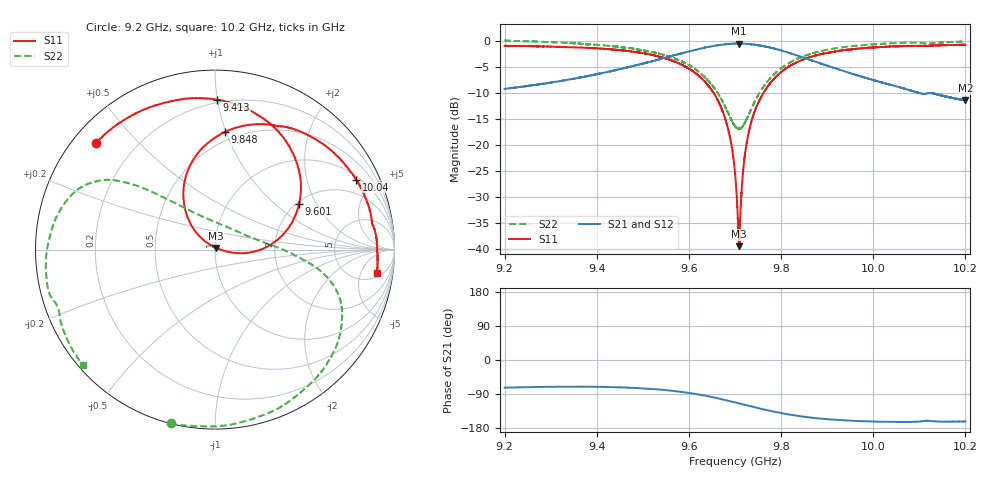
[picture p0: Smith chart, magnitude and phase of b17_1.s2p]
!Agilent Technologies,N5242A,MY51221714,A.09.90.19
!Agilent N5242A: A.09.90.19
!Date: Tuesday, March 26, 2024 16:55:39
!Correction: S11(Full 2 Port(1,2))
!S21(Full 2 Port(1,2))
!S12(Full 2 Port(1,2))
!S22(Full 2 Port(1,2))
!S2P File: Measurements: S11, S21, S12, S22:
# Hz S  dB  R 50
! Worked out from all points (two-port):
!   16001 points, 9.2 GHz to 10.2 GHz, reference 50 ohm
!   highest |S21| = -0.58 dB at 9.709 GHz (marker M1); lowest = -11.5 dB at 10.2 GHz (marker M2)
!   |S21| within 3 dB of the highest: 9.536865 GHz to 9.536947 GHz (82.29 kHz wide, 0.000863 % of centre); 9.537 GHz to 9.859 GHz (321.8 MHz wide, 3.32 % of centre)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
!   lowest |S11| = -39.5 dB at 9.709 GHz (marker M3), VSWR 1.02, Z = 50.6 + j0.919 ohm
!   |S11| at or under -10 dB: 9.653 GHz to 9.762 GHz (109 MHz wide, 1.12 % of centre)
!   |S22| runs from -17.0 to 0.0 dB; largest |S21 - S12| = 0.012
!   S11 on the Smith chart (normalised r, x): 9.2 GHz: 0.07, +0.38; 9.413 GHz: 0.18, +1.00; 9.601 GHz: 2.06, +1.45; 9.848 GHz: 0.43, +0.99; 10.04 GHz: 1.16, +3.94; 10.2 GHz: 6, -10
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9.2e9  -1.02 138.0  -9.28 -73.0  -9.25 -73.8  -0.00 -104.3
9.278812e9  -1.12 121.0  -8.34 -71.1  -8.33 -71.7  -0.22 -82.7
9.366688e9  -1.35 100.8  -7.05 -70.6  -7.04 -71.2  -0.63 -59.9
9.412562e9  -1.56 89.3  -6.22 -71.1  -6.22 -71.8  -0.92 -48.5
9.533375e9  -3.05 53.8  -3.67 -77.7  -3.65 -78.3  -2.46 -21.9
9.6015e9  -5.49 28.4  -2.06 -87.2  -2.04 -87.8  -4.77 -10.2
9.66875e9  -12.61 -1.5  -0.82 -102.7  -0.81 -103.3  -10.99 7.6
9.688188e9  -18.20 -8.9  -0.64 -108.2  -0.63 -108.9  -14.45 25.4
9.7e9  -25.29 -8.3  -0.59 -111.8  -0.58 -112.4  -16.37 46.4
9.7055e9  -32.62 7.2  -0.59 -113.5  -0.57 -114.1  -16.89 59.3
9.7085e9  -39.45 58.5  -0.58 -114.5  -0.57 -115.0  -16.95 66.7
9.708562e9  -38.60 60.8  -0.58 -114.4  -0.56 -115.0  -16.93 67.0
9.723938e9  -20.44 139.7  -0.62 -119.2  -0.61 -119.7  -15.30 101.4
9.7455e9  -12.95 131.1  -0.83 -125.6  -0.81 -126.2  -11.25 124.8
9.787375e9  -7.09 111.5  -1.58 -137.0  -1.59 -137.7  -6.25 137.9
9.847812e9  -3.64 85.2  -3.24 -149.4  -3.25 -150.0  -3.05 146.5
9.866688e9  -3.08 77.9  -3.80 -152.3  -3.81 -152.9  -2.49 149.2
9.935375e9  -1.87 55.1  -5.84 -159.2  -5.85 -159.9  -1.28 160.5
1.003338e10  -1.17 28.5  -8.40 -163.0  -8.39 -163.7  -0.56 -179.3
1.004169e10  -1.13 26.4  -8.59 -163.2  -8.58 -163.9  -0.52 -177.4
1.019988e10  -0.82 -8.2  -11.48 -162.3  -11.49 -162.8  -0.20 -138.7
1.02e10  -0.81 -8.3  -11.48 -162.2  -11.48 -162.8  -0.21 -138.6
